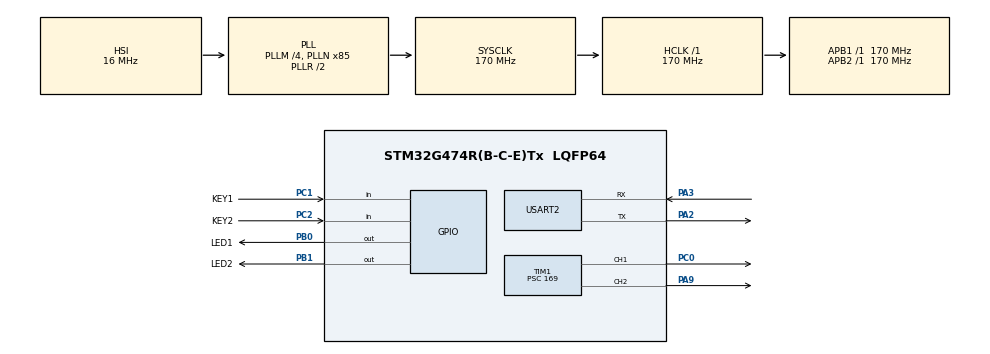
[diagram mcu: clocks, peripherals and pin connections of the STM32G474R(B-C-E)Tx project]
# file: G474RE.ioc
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Dma.Request0=USART2_RX
Dma.Request1=USART2_TX
Dma.USART2_RX.0.Direction=DMA_PERIPH_TO_MEMORY
Dma.USART2_RX.0.EventEnable=DISABLE
Dma.USART2_RX.0.Instance=DMA1_Channel1
Dma.USART2_RX.0.MemDataAlignment=DMA_MDATAALIGN_BYTE
Dma.USART2_RX.0.MemInc=DMA_MINC_ENABLE
Dma.USART2_RX.0.Mode=DMA_CIRCULAR
Dma.USART2_RX.0.PeriphDataAlignment=DMA_PDATAALIGN_BYTE
Dma.USART2_RX.0.PeriphInc=DMA_PINC_DISABLE
Dma.USART2_RX.0.Polarity=HAL_DMAMUX_REQ_GEN_RISING
Dma.USART2_RX.0.Priority=DMA_PRIORITY_LOW
Dma.USART2_RX.0.RequestNumber=1
Dma.USART2_RX.0.SignalID=NONE
Dma.USART2_RX.0.SyncEnable=DISABLE
Dma.USART2_RX.0.SyncPolarity=HAL_DMAMUX_SYNC_NO_EVENT
Dma.USART2_RX.0.SyncRequestNumber=1
Dma.USART2_RX.0.SyncSignalID=NONE
Dma.USART2_TX.1.Direction=DMA_MEMORY_TO_PERIPH
Dma.USART2_TX.1.EventEnable=DISABLE
Dma.USART2_TX.1.Instance=DMA1_Channel2
Dma.USART2_TX.1.MemDataAlignment=DMA_MDATAALIGN_BYTE
Dma.USART2_TX.1.MemInc=DMA_MINC_ENABLE
Dma.USART2_TX.1.Mode=DMA_NORMAL
Dma.USART2_TX.1.PeriphDataAlignment=DMA_PDATAALIGN_BYTE
Dma.USART2_TX.1.PeriphInc=DMA_PINC_DISABLE
Dma.USART2_TX.1.Polarity=HAL_DMAMUX_REQ_GEN_RISING
Dma.USART2_TX.1.Priority=DMA_PRIORITY_LOW
Dma.USART2_TX.1.RequestNumber=1
Dma.USART2_TX.1.SignalID=NONE
Dma.USART2_TX.1.SyncEnable=DISABLE
Dma.USART2_TX.1.SyncPolarity=HAL_DMAMUX_SYNC_NO_EVENT
Dma.USART2_TX.1.SyncRequestNumber=1
Dma.USART2_TX.1.SyncSignalID=NONE
Mcu.Family=STM32G4
Mcu.Name=STM32G474R(B-C-E)Tx
Mcu.Package=LQFP64
NVIC.DMA1_Channel1_IRQn=true\:0\:0\:false\:false\:true\:false\:true\:true
NVIC.DMA1_Channel2_IRQn=true\:0\:0\:false\:false\:true\:false\:true\:true
NVIC.PriorityGroup=NVIC_PRIORITYGROUP_4
NVIC.TIM6_DAC_IRQn=true\:0\:0\:true\:false\:true\:true\:true\:true
NVIC.TIM7_DAC_IRQn=true\:1\:0\:true\:false\:true\:true\:true\:true
NVIC.USART2_IRQn=true\:0\:0\:false\:false\:true\:true\:true\:true
PA13.Mode=Serial_Wire
PA13.Signal=SYS_JTMS-SWDIO
PA14.Mode=Serial_Wire
PA14.Signal=SYS_JTCK-SWCLK
PA2.Mode=Asynchronous
PA2.Signal=USART2_TX
PA3.Mode=Asynchronous
PA3.Signal=USART2_RX
PA9.Signal=S_TIM1_CH2
PB0.GPIO_Label=LED1
PB0.Signal=GPIO_Output
PB1.GPIO_Label=LED2
PB1.Signal=GPIO_Output
PC0.Signal=S_TIM1_CH1
PC1.GPIO_Label=KEY1
PC1.GPIO_PuPd=GPIO_PULLUP
PC1.Signal=GPIO_Input
PC2.GPIO_Label=KEY2
PC2.GPIO_PuPd=GPIO_PULLUP
PC2.Signal=GPIO_Input
PF0-OSC_IN.Mode=HSE-External-Oscillator
PF0-OSC_IN.Signal=RCC_OSC_IN
PF1-OSC_OUT.Mode=HSE-External-Oscillator
PF1-OSC_OUT.Signal=RCC_OSC_OUT
ProjectManager.HeapSize=0x200
ProjectManager.StackSize=0x400
ProjectManager.TargetToolchain=CMake
RCC.ADC12Freq_Value=170000000
RCC.ADC345Freq_Value=170000000
RCC.AHBFreq_Value=170000000
RCC.APB1Freq_Value=170000000
RCC.APB1TimFreq_Value=170000000
RCC.APB2Freq_Value=170000000
RCC.APB2TimFreq_Value=170000000
RCC.CortexFreq_Value=170000000
RCC.EXTERNAL_CLOCK_VALUE=12288000
RCC.HCLKFreq_Value=170000000
RCC.HSI48_VALUE=48000000
RCC.HSI_VALUE=16000000
RCC.LSE_VALUE=32768
RCC.PLLM=RCC_PLLM_DIV4
RCC.PLLN=85
RCC.SYSCLKFreq_VALUE=170000000
RCC.SYSCLKSource=RCC_SYSCLKSOURCE_PLLCLK
RCC.USBFreq_Value=170000000
RCC.VCOOutputFreq_Value=340000000
SH.S_TIM1_CH1.0=TIM1_CH1,PWM Generation1 CH1
SH.S_TIM1_CH2.0=TIM1_CH2,PWM Generation2 CH2
TIM1.Channel-PWM\ Generation1\ CH1=TIM_CHANNEL_1
TIM1.Channel-PWM\ Generation2\ CH2=TIM_CHANNEL_2
TIM1.PeriodNoDither=999
TIM1.Prescaler=169
TIM6.PeriodNoDither=4999
TIM6.Prescaler=1699
TIM7.PeriodNoDither=49999
TIM7.Prescaler=1699
USART2.VirtualMode-Asynchronous=VM_ASYNC
VP_SYS_VS_DBSignals.Mode=DisableDeadBatterySignals
VP_TIM1_VS_ClockSourceINT.Mode=Internal
VP_TIM6_VS_ClockSourceINT.Mode=Enable_Timer
VP_TIM7_VS_ClockSourceINT.Mode=Enable_Timer
board=custom

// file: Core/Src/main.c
/* USER CODE BEGIN Header */
/**
  ******************************************************************************
  * @file           : main.c
  * @brief          : Main program body
  ******************************************************************************
  * @attention
  *
  * Copyright (c) 2025 STMicroelectronics.
  * All rights reserved.
  *
  * This software is licensed under terms that can be found in the LICENSE file
  * in the root directory of this software component.
  * If no LICENSE file comes with this software, it is provided AS-IS.
  *
  ******************************************************************************
  */
/* USER CODE END Header */
#include "main.h"

#include <string.h>
#include <sys/types.h>

/* USER CODE BEGIN PD */

// LED Control
# define OFF 0
# define LOW 330
# define MEDIUM 660
# define HIGH 990
/* USER CODE END PD */

TIM_HandleTypeDef htim1;
TIM_HandleTypeDef htim6;
TIM_HandleTypeDef htim7;

UART_HandleTypeDef huart2;
DMA_HandleTypeDef hdma_usart2_rx;
DMA_HandleTypeDef hdma_usart2_tx;

/* USER CODE BEGIN PV */
uint16_t key_status[2]={0,0};
uint16_t key_pressed[2]={0,0};

uint8_t rx_buf[RX_BUF_LEN]={0};
uint8_t tx_buf[TX_BUF_LEN]={0};
volatile uint8_t idle_flag = 0;
volatile uint8_t rx_buf_len=0;
uint8_t tx_buf_len=0;
/* USER CODE END PV */

void SystemClock_Config(void);
static void MX_GPIO_Init(void);
static void MX_DMA_Init(void);
static void MX_TIM6_Init(void);
static void MX_TIM7_Init(void);
static void MX_USART2_UART_Init(void);
static void MX_TIM1_Init(void);
/* USER CODE BEGIN PFP */
void LED_on_off(void);  // use the keys to turn on/off the leds
void LED_control(void);
void LED_set(uint8_t led_id,uint8_t level);
/* USER CODE END PFP */

int main(void)
{

  /* MCU Configuration--------------------------------------------------------*/

  /* Reset of all peripherals, Initializes the Flash interface and the Systick. */
  HAL_Init();

  /* Configure the system clock */
  SystemClock_Config();

  /* Initialize all configured peripherals */
  MX_GPIO_Init();
  MX_DMA_Init();
  MX_TIM6_Init();
  MX_TIM7_Init();
  MX_USART2_UART_Init();
  MX_TIM1_Init();
  /* USER CODE BEGIN 2 */
  __HAL_TIM_CLEAR_FLAG(&htim6, TIM_FLAG_UPDATE);
  __HAL_TIM_CLEAR_FLAG(&htim7, TIM_FLAG_UPDATE);
  HAL_TIM_Base_Start_IT(&htim6);
  HAL_TIM_Base_Start_IT(&htim7);

  HAL_TIM_PWM_Start(&htim1,TIM_CHANNEL_1);
  HAL_TIM_PWM_Start(&htim1,TIM_CHANNEL_2);

  __HAL_UART_ENABLE_IT(&huart2, UART_IT_IDLE);
  HAL_UART_Receive_DMA(&huart2,rx_buf,RX_BUF_LEN);
  /* USER CODE END 2 */

  /* Infinite loop */
  /* USER CODE BEGIN WHILE */
  while (1)
  {
    if (idle_flag==1) {
      LED_control();
      HAL_UART_Transmit_DMA(&huart2,tx_buf,tx_buf_len);
      memset(rx_buf,0,rx_buf_len);
      rx_buf_len=0;
      tx_buf_len=0;
      idle_flag=0;
    }
    /* USER CODE END WHILE */

  }
}

void SystemClock_Config(void)
{
  RCC_OscInitTypeDef RCC_OscInitStruct = {0};
  RCC_ClkInitTypeDef RCC_ClkInitStruct = {0};

  /** Configure the main internal regulator output voltage
  */
  HAL_PWREx_ControlVoltageScaling(PWR_REGULATOR_VOLTAGE_SCALE1_BOOST);

  /** Initializes the RCC Oscillators according to the specified parameters
  * in the RCC_OscInitTypeDef structure.
  */
  RCC_OscInitStruct.OscillatorType = RCC_OSCILLATORTYPE_HSI;
  RCC_OscInitStruct.HSIState = RCC_HSI_ON;
  RCC_OscInitStruct.HSICalibrationValue = RCC_HSICALIBRATION_DEFAULT;
  RCC_OscInitStruct.PLL.PLLState = RCC_PLL_ON;
  RCC_OscInitStruct.PLL.PLLSource = RCC_PLLSOURCE_HSI;
  RCC_OscInitStruct.PLL.PLLM = RCC_PLLM_DIV4;
  RCC_OscInitStruct.PLL.PLLN = 85;
  RCC_OscInitStruct.PLL.PLLP = RCC_PLLP_DIV2;
  RCC_OscInitStruct.PLL.PLLQ = RCC_PLLQ_DIV2;
  RCC_OscInitStruct.PLL.PLLR = RCC_PLLR_DIV2;
  if (HAL_RCC_OscConfig(&RCC_OscInitStruct) != HAL_OK)
  {
    Error_Handler();
  }

  /** Initializes the CPU, AHB and APB buses clocks
  */
  RCC_ClkInitStruct.ClockType = RCC_CLOCKTYPE_HCLK|RCC_CLOCKTYPE_SYSCLK
                              |RCC_CLOCKTYPE_PCLK1|RCC_CLOCKTYPE_PCLK2;
  RCC_ClkInitStruct.SYSCLKSource = RCC_SYSCLKSOURCE_PLLCLK;
  RCC_ClkInitStruct.AHBCLKDivider = RCC_SYSCLK_DIV1;
  RCC_ClkInitStruct.APB1CLKDivider = RCC_HCLK_DIV1;
  RCC_ClkInitStruct.APB2CLKDivider = RCC_HCLK_DIV1;

  if (HAL_RCC_ClockConfig(&RCC_ClkInitStruct, FLASH_LATENCY_4) != HAL_OK)
  {
    Error_Handler();
  }
}

static void MX_TIM1_Init(void)
{

  TIM_ClockConfigTypeDef sClockSourceConfig = {0};
  TIM_MasterConfigTypeDef sMasterConfig = {0};
  TIM_OC_InitTypeDef sConfigOC = {0};
  TIM_BreakDeadTimeConfigTypeDef sBreakDeadTimeConfig = {0};

  htim1.Instance = TIM1;
  htim1.Init.Prescaler = 169;
  htim1.Init.CounterMode = TIM_COUNTERMODE_UP;
  htim1.Init.Period = 999;
  htim1.Init.ClockDivision = TIM_CLOCKDIVISION_DIV1;
  htim1.Init.RepetitionCounter = 0;
  htim1.Init.AutoReloadPreload = TIM_AUTORELOAD_PRELOAD_DISABLE;
  if (HAL_TIM_Base_Init(&htim1) != HAL_OK)
  {
    Error_Handler();
  }
  sClockSourceConfig.ClockSource = TIM_CLOCKSOURCE_INTERNAL;
  if (HAL_TIM_ConfigClockSource(&htim1, &sClockSourceConfig) != HAL_OK)
  {
    Error_Handler();
  }
  if (HAL_TIM_PWM_Init(&htim1) != HAL_OK)
  {
    Error_Handler();
  }
  sMasterConfig.MasterOutputTrigger = TIM_TRGO_RESET;
  sMasterConfig.MasterOutputTrigger2 = TIM_TRGO2_RESET;
  sMasterConfig.MasterSlaveMode = TIM_MASTERSLAVEMODE_DISABLE;
  if (HAL_TIMEx_MasterConfigSynchronization(&htim1, &sMasterConfig) != HAL_OK)
  {
    Error_Handler();
  }
  sConfigOC.OCMode = TIM_OCMODE_PWM1;
  sConfigOC.Pulse = 0;
  sConfigOC.OCPolarity = TIM_OCPOLARITY_HIGH;
  sConfigOC.OCNPolarity = TIM_OCNPOLARITY_HIGH;
  sConfigOC.OCFastMode = TIM_OCFAST_DISABLE;
  sConfigOC.OCIdleState = TIM_OCIDLESTATE_RESET;
  sConfigOC.OCNIdleState = TIM_OCNIDLESTATE_RESET;
  if (HAL_TIM_PWM_ConfigChannel(&htim1, &sConfigOC, TIM_CHANNEL_1) != HAL_OK)
  {
    Error_Handler();
  }
  if (HAL_TIM_PWM_ConfigChannel(&htim1, &sConfigOC, TIM_CHANNEL_2) != HAL_OK)
  {
    Error_Handler();
  }
  sBreakDeadTimeConfig.OffStateRunMode = TIM_OSSR_DISABLE;
  sBreakDeadTimeConfig.OffStateIDLEMode = TIM_OSSI_DISABLE;
  sBreakDeadTimeConfig.LockLevel = TIM_LOCKLEVEL_OFF;
  sBreakDeadTimeConfig.DeadTime = 0;
  sBreakDeadTimeConfig.BreakState = TIM_BREAK_DISABLE;
  sBreakDeadTimeConfig.BreakPolarity = TIM_BREAKPOLARITY_HIGH;
  sBreakDeadTimeConfig.BreakFilter = 0;
  sBreakDeadTimeConfig.BreakAFMode = TIM_BREAK_AFMODE_INPUT;
  sBreakDeadTimeConfig.Break2State = TIM_BREAK2_DISABLE;
  sBreakDeadTimeConfig.Break2Polarity = TIM_BREAK2POLARITY_HIGH;
  sBreakDeadTimeConfig.Break2Filter = 0;
  sBreakDeadTimeConfig.Break2AFMode = TIM_BREAK_AFMODE_INPUT;
  sBreakDeadTimeConfig.AutomaticOutput = TIM_AUTOMATICOUTPUT_DISABLE;
  if (HAL_TIMEx_ConfigBreakDeadTime(&htim1, &sBreakDeadTimeConfig) != HAL_OK)
  {
    Error_Handler();
  }
  HAL_TIM_MspPostInit(&htim1);

}

static void MX_TIM6_Init(void)
{

  TIM_MasterConfigTypeDef sMasterConfig = {0};

  htim6.Instance = TIM6;
  htim6.Init.Prescaler = 1699;
  htim6.Init.CounterMode = TIM_COUNTERMODE_UP;
  htim6.Init.Period = 4999;
  htim6.Init.AutoReloadPreload = TIM_AUTORELOAD_PRELOAD_DISABLE;
  if (HAL_TIM_Base_Init(&htim6) != HAL_OK)
  {
    Error_Handler();
  }
  sMasterConfig.MasterOutputTrigger = TIM_TRGO_RESET;
  sMasterConfig.MasterSlaveMode = TIM_MASTERSLAVEMODE_DISABLE;
  if (HAL_TIMEx_MasterConfigSynchronization(&htim6, &sMasterConfig) != HAL_OK)
  {
    Error_Handler();
  }

}

static void MX_TIM7_Init(void)
{

  TIM_MasterConfigTypeDef sMasterConfig = {0};

  htim7.Instance = TIM7;
  htim7.Init.Prescaler = 1699;
  htim7.Init.CounterMode = TIM_COUNTERMODE_UP;
  htim7.Init.Period = 49999;
  htim7.Init.AutoReloadPreload = TIM_AUTORELOAD_PRELOAD_DISABLE;
  if (HAL_TIM_Base_Init(&htim7) != HAL_OK)
  {
    Error_Handler();
  }
  sMasterConfig.MasterOutputTrigger = TIM_TRGO_RESET;
  sMasterConfig.MasterSlaveMode = TIM_MASTERSLAVEMODE_DISABLE;
  if (HAL_TIMEx_MasterConfigSynchronization(&htim7, &sMasterConfig) != HAL_OK)
  {
    Error_Handler();
  }

}

static void MX_USART2_UART_Init(void)
{

  huart2.Instance = USART2;
  huart2.Init.BaudRate = 115200;
  huart2.Init.WordLength = UART_WORDLENGTH_8B;
  huart2.Init.StopBits = UART_STOPBITS_1;
  huart2.Init.Parity = UART_PARITY_NONE;
  huart2.Init.Mode = UART_MODE_TX_RX;
  huart2.Init.HwFlowCtl = UART_HWCONTROL_NONE;
  huart2.Init.OverSampling = UART_OVERSAMPLING_16;
  huart2.Init.OneBitSampling = UART_ONE_BIT_SAMPLE_DISABLE;
  huart2.Init.ClockPrescaler = UART_PRESCALER_DIV1;
  huart2.AdvancedInit.AdvFeatureInit = UART_ADVFEATURE_NO_INIT;
  if (HAL_UART_Init(&huart2) != HAL_OK)
  {
    Error_Handler();
  }
  if (HAL_UARTEx_SetTxFifoThreshold(&huart2, UART_TXFIFO_THRESHOLD_1_8) != HAL_OK)
  {
    Error_Handler();
  }
  if (HAL_UARTEx_SetRxFifoThreshold(&huart2, UART_RXFIFO_THRESHOLD_1_8) != HAL_OK)
  {
    Error_Handler();
  }
  if (HAL_UARTEx_DisableFifoMode(&huart2) != HAL_OK)
  {
    Error_Handler();
  }

}

static void MX_DMA_Init(void)
{

  /* DMA controller clock enable */
  __HAL_RCC_DMAMUX1_CLK_ENABLE();
  __HAL_RCC_DMA1_CLK_ENABLE();

  /* DMA interrupt init */
  /* DMA1_Channel1_IRQn interrupt configuration */
  HAL_NVIC_SetPriority(DMA1_Channel1_IRQn, 0, 0);
  HAL_NVIC_EnableIRQ(DMA1_Channel1_IRQn);
  /* DMA1_Channel2_IRQn interrupt configuration */
  HAL_NVIC_SetPriority(DMA1_Channel2_IRQn, 0, 0);
  HAL_NVIC_EnableIRQ(DMA1_Channel2_IRQn);

}

static void MX_GPIO_Init(void)
{
  GPIO_InitTypeDef GPIO_InitStruct = {0};

  /* GPIO Ports Clock Enable */
  __HAL_RCC_GPIOF_CLK_ENABLE();
  __HAL_RCC_GPIOC_CLK_ENABLE();
  __HAL_RCC_GPIOA_CLK_ENABLE();
  __HAL_RCC_GPIOB_CLK_ENABLE();

  /*Configure GPIO pin Output Level */
  HAL_GPIO_WritePin(GPIOB, LED1_Pin|LED2_Pin, GPIO_PIN_RESET);

  /*Configure GPIO pins : KEY1_Pin KEY2_Pin */
  GPIO_InitStruct.Pin = KEY1_Pin|KEY2_Pin;
  GPIO_InitStruct.Mode = GPIO_MODE_INPUT;
  GPIO_InitStruct.Pull = GPIO_PULLUP;
  HAL_GPIO_Init(GPIOC, &GPIO_InitStruct);

  /*Configure GPIO pins : LED1_Pin LED2_Pin */
  GPIO_InitStruct.Pin = LED1_Pin|LED2_Pin;
  GPIO_InitStruct.Mode = GPIO_MODE_OUTPUT_PP;
  GPIO_InitStruct.Pull = GPIO_NOPULL;
  GPIO_InitStruct.Speed = GPIO_SPEED_FREQ_LOW;
  HAL_GPIO_Init(GPIOB, &GPIO_InitStruct);

}

/* USER CODE BEGIN 4 */
void LED_on_off(void) {
  if (key_pressed[0]==1)
  {
    HAL_GPIO_TogglePin(LED1_GPIO_Port, LED1_Pin);
    key_pressed[0]=0;
  }
  if (key_pressed[1]==1)
  {
    HAL_GPIO_TogglePin(LED2_GPIO_Port, LED2_Pin);
    key_pressed[1]=0;
  }
}
void HAL_TIM_PeriodElapsedCallback(TIM_HandleTypeDef *htim) {
  if (htim->Instance == htim6.Instance) // check the status of LEDS
  {

    if (key_status[0]==0)
    {
      if (HAL_GPIO_ReadPin(KEY1_GPIO_Port, KEY1_Pin) == GPIO_PIN_RESET) key_status[0] = 1;
    }
    if (key_status[0]==1) {
       if (HAL_GPIO_ReadPin(KEY1_GPIO_Port, KEY1_Pin) == GPIO_PIN_RESET) {
         key_pressed[0]=1;
         key_status[0] = 2;
       }
        else {
          key_status[0] = 0;
        }
    }
    else if (key_status[0]==2) {
      if (HAL_GPIO_ReadPin(KEY1_GPIO_Port, KEY1_Pin) == GPIO_PIN_SET) {
        key_status[0] = 0;
      }
    }

    if (key_status[1]==0)
    {
      if (HAL_GPIO_ReadPin(KEY2_GPIO_Port, KEY2_Pin) == GPIO_PIN_RESET) key_status[1] = 1;
    }
    if (key_status[1]==1) {
      if (HAL_GPIO_ReadPin(KEY2_GPIO_Port, KEY2_Pin) == GPIO_PIN_RESET) {
        key_pressed[1]=1;
        key_status[1] = 2;
      }
      else {
        key_status[1] = 0;
      }
    }
    else if (key_status[1]==2) {
      if (HAL_GPIO_ReadPin(KEY2_GPIO_Port, KEY2_Pin) == GPIO_PIN_SET) {
        key_status[1] = 0;
      }
    }
  }
  // transmit the status of LEDs
  else if (htim->Instance == 0)
  {
    static const uint8_t msg1_on[]  = "LED1 is on\n";
    static const uint8_t msg1_off[] = "LED1 is off\n";
    static const uint8_t msg2_on[]  = "LED2 is on\n";
    static const uint8_t msg2_off[] = "LED2 is off\n";

    if (HAL_GPIO_ReadPin(LED1_GPIO_Port,LED1_Pin))
    {
      HAL_UART_Transmit_DMA(&huart2, (uint8_t *)msg1_on, sizeof(msg1_on) - 1);
    }
    else
    {
      HAL_UART_Transmit_DMA(&huart2, (uint8_t *)msg1_off, sizeof(msg1_off) - 1);
    }

    while (HAL_UART_GetState(&huart2) != HAL_UART_STATE_READY);

    if (HAL_GPIO_ReadPin(LED2_GPIO_Port,LED2_Pin))
    {
      HAL_UART_Transmit_DMA(&huart2, (uint8_t *)msg2_on, sizeof(msg2_on) - 1);
    }
    else
    {
      HAL_UART_Transmit_DMA(&huart2, (uint8_t *)msg2_off, sizeof(msg2_off) - 1);
    }
  }

}
void LED_set(uint8_t led_id, uint8_t level) {
  if (led_id==1) {
    if (level==OFF) {
      __HAL_TIM_SET_COMPARE(&htim1,TIM_CHANNEL_1,OFF);
    }
    else if (level==1) {
      __HAL_TIM_SET_COMPARE(&htim1,TIM_CHANNEL_1,LOW);
    }
    else if (level==2) {
      __HAL_TIM_SET_COMPARE(&htim1,TIM_CHANNEL_1,MEDIUM);
    }
    else if (level==3) {
      __HAL_TIM_SET_COMPARE(&htim1,TIM_CHANNEL_1,HIGH);
    }
  }
  else if (led_id==2) {
    if (level==OFF) {
      __HAL_TIM_SET_COMPARE(&htim1,TIM_CHANNEL_2,OFF);
    }
    else if (level==1) {
      __HAL_TIM_SET_COMPARE(&htim1,TIM_CHANNEL_2,LOW);
    }
    else if (level==2) {
      __HAL_TIM_SET_COMPARE(&htim1,TIM_CHANNEL_2,MEDIUM);
    }
    else if (level==3) {
      __HAL_TIM_SET_COMPARE(&htim1,TIM_CHANNEL_2,HIGH);
    }
  }
}
void LED_control(void) {
  tx_buf[0]=0x66;
  tx_buf[1]=0xAA;
  if (rx_buf_len<5) {
    tx_buf[2] = 0xE2;
    tx_buf[3] = 1;
    tx_buf[4] = 0x01;
    tx_buf[5]=0xFF;
    tx_buf_len=6;
    return;
  }
  if (rx_buf[0] != 0x55 || rx_buf[1] != 0xAA || rx_buf[rx_buf_len-1] != 0xFF) {
    tx_buf[2] = 0xE2;
    tx_buf[3] = 1;
    tx_buf[4] = 0x01;
    tx_buf[5]=0xFF;
    tx_buf_len=6;
    return;
  }

  uint8_t control=rx_buf[2];
  uint8_t n=rx_buf[3];
  if (control==0x0A && n == 0) {
    LED_set(1,OFF);
    LED_set(2,OFF);

    tx_buf[2] = 0xCA;    // 关闭所有灯成功
    tx_buf[3] = 0;
    tx_buf[4]=0xFF;
    tx_buf_len=5;
    return;
  }
  else if (control==0x01) {
    if (n != 1 && n != 2) {
      tx_buf[2] = 0xE2;
      tx_buf[3] = 1;
      tx_buf[4] = 0x02;
      tx_buf[5] = 0xFF;
      tx_buf_len=6;
      return;
    }

    uint8_t id_err    = 0;
    uint8_t level_err = 0;
    uint8_t ids[2], levels[2], data[2];

    for (uint8_t i = 0; i < n; ++i) {
      data[i]   = rx_buf[4 + i];
      ids[i]    = (data[i] >> 4) & 0x0F;
      levels[i] = data[i] & 0x0F;

      if (ids[i] != 1 && ids[i] != 2)    id_err = 1;
      if (levels[i] > 3)                 level_err = 1;
    }

    if (!id_err && !level_err) {
      for (uint8_t i = 0; i < n; ++i) {
        LED_set(ids[i], levels[i]);
      }
      tx_buf[2] = 0xC1;
      tx_buf[3] = n;
      for (uint8_t i = 0; i < n; ++i) {
        tx_buf[4 + i] = data[i];
      }
      tx_buf[4 + n] = 0xFF;
      tx_buf_len=5+n;
    }
    else if (id_err && !level_err) {
      tx_buf[2] = 0xE1;
      tx_buf[3] = 1;
      tx_buf[4] = 0x01;
      tx_buf[5] = 0xFF;
      tx_buf_len=6;
    }
    else if (!id_err && level_err) {
      tx_buf[2] = 0xE1;
      tx_buf[3] = 1;
      tx_buf[4] = 0x02;
      tx_buf[5] = 0xFF;
      tx_buf_len=6;
    }
    else if (id_err && level_err) {
      tx_buf[2] = 0xE1;
      tx_buf[3] = 2;
      tx_buf[4] = 0x01;
      tx_buf[5] = 0x02;
      tx_buf[6] = 0xFF;
      tx_buf_len=7;
      }
    }
  else {
    tx_buf[2] = 0xE0;
    tx_buf[3] = 1;
    tx_buf[4] = control;
    tx_buf[5]=0xFF;
    tx_buf_len=6;
  }
}
/* USER CODE END 4 */

void Error_Handler(void)
{
  __disable_irq();
  while (1)
  {
  }
}
